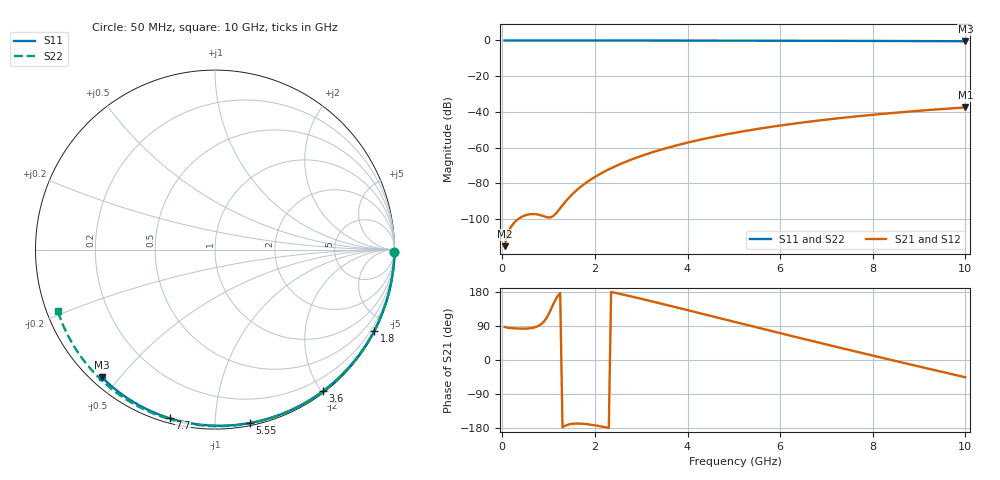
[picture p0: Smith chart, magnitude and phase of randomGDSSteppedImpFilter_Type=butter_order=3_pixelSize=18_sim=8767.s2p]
! freq	dB(S11)	phase(S11)	dB(S12)	phase(S12)
!  dB(S21)	phase(S21)	dB(S22)	phase(S22)
!S-par simulation data
#  GHz  S  DB  R 50
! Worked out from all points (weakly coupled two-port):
!   200 points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, 50 MHz to 10 GHz, reference 50 ohm
!   highest |S21| = -37.51 dB at 10 GHz (marker M1); lowest = -115.2 dB at 50 MHz (marker M2)
!   lowest |S11| = -0.4 dB at 10 GHz (marker M3), VSWR 39.10, Z = 1.54 - j22.5 ohm
!   |S11| at or under -10 dB: nowhere
!   |S22| runs from -0.5 to 0.0 dB; largest |S21 - S12| = 0
!   S11 on the Smith chart (normalised r, x): 50 MHz: open; 1.8 GHz: 0.04, -4.18; 3.6 GHz: 0.02, -2.02; 5.55 GHz: 0.02, -1.22; 7.7 GHz: 0.02, -0.77; 10 GHz: 0.03, -0.45
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0.05  -0.00 -0.8  -115.22 87.4  -115.22 87.4  -0.00 -0.9
0.45  -0.01 -6.8  -98.43 82.7  -98.43 82.7  -0.01 -8.3
0.9  -0.02 -13.6  -98.49 101.7  -98.49 101.7  -0.02 -16.4
1.3  -0.02 -19.6  -92.29 -177.8  -92.29 -177.8  -0.03 -23.6
1.75  -0.03 -26.2  -80.83 -168.4  -80.83 -168.4  -0.04 -31.6
1.8  -0.03 -26.9  -79.87 -169.0  -79.87 -169.0  -0.04 -32.5
1.95  -0.04 -29.1  -77.25 -171.4  -77.25 -171.4  -0.04 -35.1
2.1  -0.04 -31.3  -74.93 -174.4  -74.93 -174.4  -0.05 -37.8
2.3  -0.04 -34.2  -72.19 -179.2  -72.19 -179.2  -0.05 -41.3
2.5  -0.05 -37.1  -69.76 175.6  -69.76 175.6  -0.06 -44.7
2.9  -0.06 -42.8  -65.61 164.4  -65.61 164.4  -0.07 -51.6
3.4  -0.07 -49.9  -61.37 149.7  -61.37 149.7  -0.08 -60.0
3.6  -0.07 -52.7  -59.89 143.7  -59.89 143.7  -0.08 -63.3
4.3  -0.09 -62.2  -55.43 122.5  -55.43 122.5  -0.11 -74.7
5.05  -0.11 -72.2  -51.58 99.6  -51.58 99.6  -0.13 -86.4
5.55  -0.13 -78.7  -49.40 84.4  -49.40 84.4  -0.15 -94.1
6.1  -0.15 -85.6  -47.28 67.8  -47.28 67.8  -0.18 -102.4
6.7  -0.18 -93.1  -45.25 49.9  -45.25 49.9  -0.22 -111.2
7.7  -0.24 -105.1  -42.38 20.4  -42.38 20.4  -0.29 -125.6
8.35  -0.29 -112.6  -40.79 1.5  -40.79 1.5  -0.35 -134.9
9.2  -0.36 -122.4  -38.98 -22.9  -38.98 -22.9  -0.43 -147.1
10  -0.44 -131.4  -37.51 -45.5  -37.51 -45.5  -0.53 -158.7
